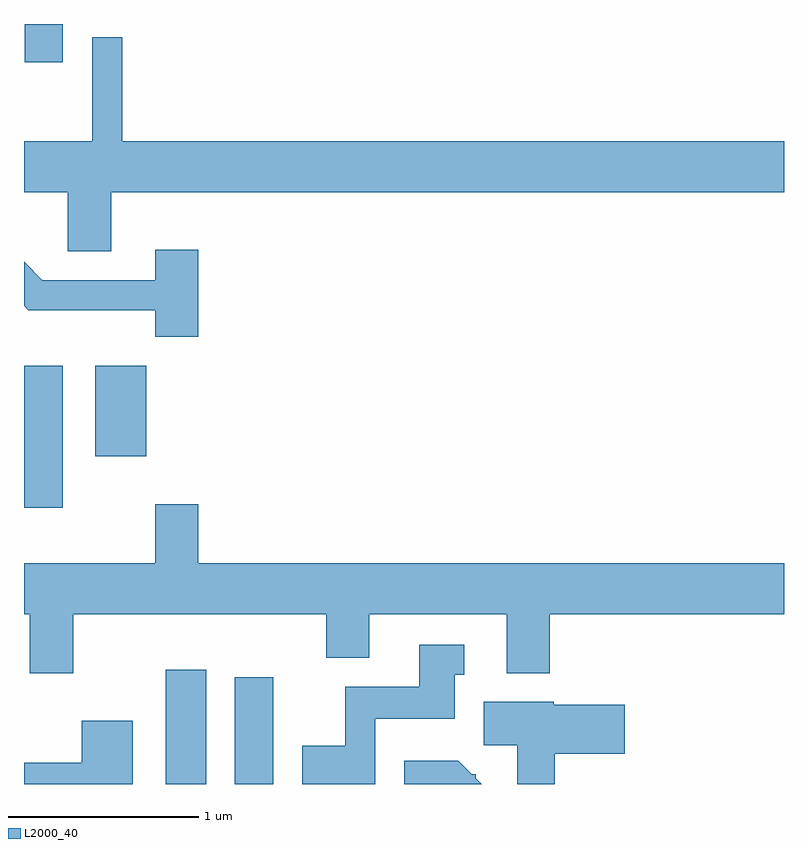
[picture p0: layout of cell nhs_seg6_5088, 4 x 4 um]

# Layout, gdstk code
import gdstk
lib = gdstk.Library(unit=1e-6, precision=1e-09)
def R(c, l, rs):  # rectangles x0, y0, x1, y1
    for r in rs: c.add(gdstk.rectangle(r[:2], r[2:], *l))
def P(c, l, *ps):  # polygons
    for p in ps: c.add(gdstk.Polygon(p, *l))
L2000_40 = (2000, 40)

nhs_seg6_5088 = lib.new_cell('nhs_seg6_5088')
R(nhs_seg6_5088, L2000_40, [(340.356,1640.162,340.569,1640.764), (340.721,1640.162,340.924,1640.724), (339.611,1641.616,339.814,1642.364), (339.986,1641.886,340.254,1642.364), (339.616,1643.961,339.814,1644.162)])
P(nhs_seg6_5088, L2000_40, [(340.069,1643.276),(343.611,1643.276),(343.611,1643.544),(340.129,1643.544),(340.129,1644.093),(339.971,1644.093),(339.971,1643.544),(339.611,1643.544),(339.611,1643.276),(339.841,1643.276),(339.841,1642.966),(340.069,1642.966)],
  [(340.529,1642.974),(340.301,1642.974),(340.301,1642.814),(339.707,1642.814),(339.611,1642.91),(339.611,1642.679),(339.634,1642.656),(340.301,1642.656),(340.301,1642.516),(340.529,1642.516)],
  [(339.869,1641.056),(341.201,1641.056),(341.201,1640.826),(341.429,1640.826),(341.429,1641.056),(342.151,1641.056),(342.151,1640.746),(342.379,1640.746),(342.379,1641.056),(343.611,1641.056),(343.611,1641.324),(340.529,1641.324),(340.529,1641.634),(340.301,1641.634),(340.301,1641.324),(339.611,1641.324),(339.611,1641.056),(339.641,1641.056),(339.641,1640.746),(339.869,1640.746)],
  [(341.459,1640.506),(341.879,1640.506),(341.879,1640.736),(341.928,1640.736),(341.928,1640.894),(341.691,1640.894),(341.691,1640.674),(341.301,1640.674),(341.301,1640.364),(341.076,1640.364),(341.076,1640.162),(341.459,1640.162)],
  [(342.404,1640.321),(342.774,1640.321),(342.774,1640.579),(342.4,1640.579),(342.4,1640.594),(342.031,1640.594),(342.031,1640.366),(342.206,1640.366),(342.206,1640.162),(342.404,1640.162)],
  [(340.184,1640.494),(339.916,1640.494),(339.916,1640.274),(339.611,1640.274),(339.611,1640.162),(340.184,1640.162)],
  [(341.989,1640.192),(341.989,1640.214),(341.967,1640.214),(341.897,1640.284),(341.611,1640.284),(341.611,1640.162),(342.019,1640.162)])

lib.write_gds('nhs_seg6_5088.gds')
